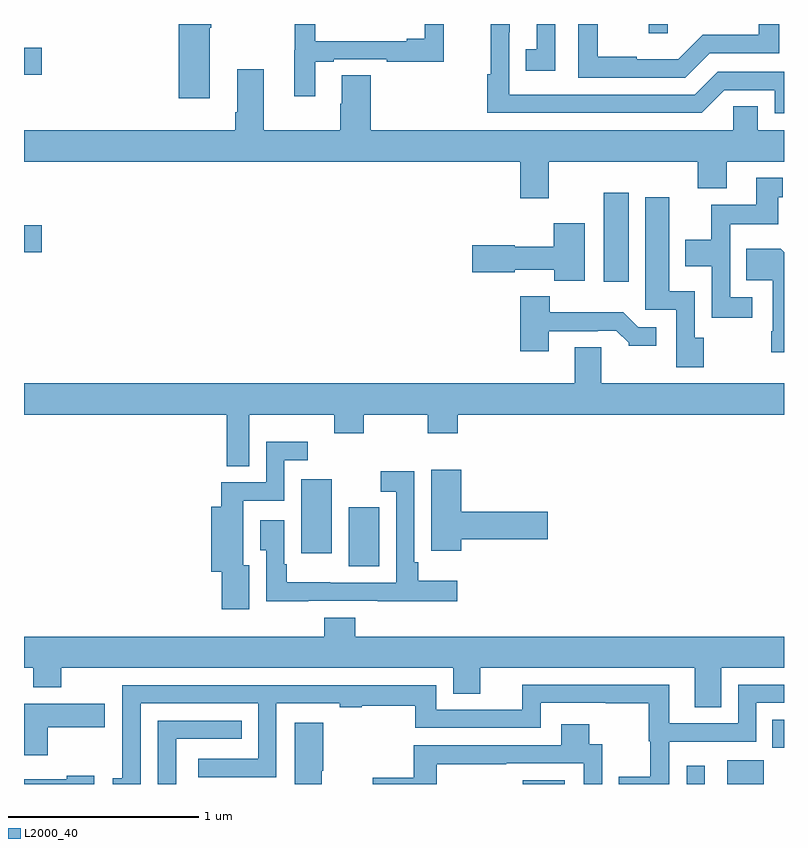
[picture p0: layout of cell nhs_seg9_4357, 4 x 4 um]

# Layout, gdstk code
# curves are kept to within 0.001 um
import gdstk
lib = gdstk.Library(unit=1e-6, precision=1e-09)
def R(c, l, rs):  # rectangles x0, y0, x1, y1
    for r in rs: c.add(gdstk.rectangle(r[:2], r[2:], *l))
def P(c, l, *ps):  # polygons
    for p in ps: c.add(gdstk.Polygon(p, *l))
L2000_40 = (2000, 40)

nhs_seg9_4357 = lib.new_cell('nhs_seg9_4357')
R(nhs_seg9_4357, L2000_40, [(363.624,1170.5,363.847,1170.52), (364.488,1170.5,364.584,1170.595), (364.7,1170.5,364.894,1170.624), (364.939,1170.692,365,1170.838), (362.708,1171.645,362.869,1171.956), (362.459,1171.715,362.62,1172.104), (364.052,1173.144,364.183,1173.613), (361,1173.299,361.093,1173.441), (361,1174.234,361.093,1174.376), (364.288,1174.452,364.389,1174.5), (362.699,1174.499,362.941,1174.5)])
P(nhs_seg9_4357, L2000_40, [(365,1174.248),(364.65,1174.248),(364.53,1174.128),(363.555,1174.128),(363.556,1174.5),(363.457,1174.5),(363.457,1174.235),(363.439,1174.235),(363.439,1174.032),(364.566,1174.032),(364.686,1174.152),(364.95,1174.152),(364.95,1174.029),(365,1174.029)],
  [(364.608,1174.347),(364.975,1174.347),(364.975,1174.5),(364.868,1174.5),(364.868,1174.443),(364.572,1174.443),(364.444,1174.315),(364.226,1174.315),(364.226,1174.327),(364.019,1174.327),(364.019,1174.5),(363.918,1174.5),(363.918,1174.218),(364.479,1174.218)],
  [(363.795,1174.5),(363.698,1174.5),(363.698,1174.367),(363.64,1174.367),(363.64,1174.254),(363.795,1174.254)],
  [(361.978,1174.481),(361.986,1174.481),(361.986,1174.5),(361.814,1174.5),(361.814,1174.11),(361.978,1174.11)],
  [(362.533,1174.302),(362.629,1174.302),(362.629,1174.314),(362.908,1174.314),(362.908,1174.302),(363.21,1174.302),(363.21,1174.5),(363.11,1174.5),(363.11,1174.423),(363.014,1174.423),(363.014,1174.41),(362.533,1174.41),(362.533,1174.5),(362.424,1174.5),(362.424,1174.363),(362.423,1174.363),(362.423,1174.119),(362.533,1174.119)],
  [(363.763,1173.776),(364.547,1173.776),(364.547,1173.635),(364.699,1173.635),(364.699,1173.776),(365,1173.776),(365,1173.94),(364.861,1173.94),(364.861,1174.067),(364.734,1174.067),(364.734,1173.94),(362.825,1173.94),(362.825,1174.229),(362.672,1174.229),(362.672,1174.079),(362.665,1174.079),(362.665,1173.94),(362.263,1173.94),(362.263,1174.261),(362.123,1174.261),(362.123,1174.036),(362.111,1174.036),(362.111,1173.94),(361,1173.94),(361,1173.776),(363.611,1173.776),(363.611,1173.582),(363.763,1173.582)],
  [(364.834,1173.063),(364.716,1173.063),(364.716,1173.446),(364.969,1173.446),(364.969,1173.588),(364.993,1173.588),(364.993,1173.691),(364.853,1173.691),(364.853,1173.55),(364.618,1173.55),(364.618,1173.364),(364.481,1173.364),(364.481,1173.224),(364.62,1173.224),(364.62,1172.955),(364.834,1172.955)],
  [(364.578,1172.85),(364.53,1172.85),(364.53,1173.094),(364.396,1173.094),(364.396,1173.589),(364.271,1173.589),(364.271,1172.997),(364.434,1172.997),(364.434,1172.694),(364.578,1172.694)],
  [(363.952,1173.451),(363.788,1173.451),(363.788,1173.328),(363.582,1173.328),(363.582,1173.336),(363.36,1173.336),(363.36,1173.194),(363.582,1173.194),(363.582,1173.206),(363.79,1173.206),(363.79,1173.149),(363.952,1173.149)],
  [(365,1173.3),(364.984,1173.316),(364.801,1173.316),(364.801,1173.152),(364.94,1173.152),(364.94,1172.884),(364.933,1172.884),(364.933,1172.772),(365,1172.772)],
  [(363.763,1172.883),(364.019,1172.883),(364.019,1172.886),(364.118,1172.886),(364.182,1172.822),(364.182,1172.807),(364.327,1172.807),(364.327,1172.904),(364.233,1172.904),(364.155,1172.983),(363.766,1172.983),(363.766,1173.067),(363.611,1173.067),(363.611,1172.778),(363.763,1172.778)],
  [(362.185,1172.444),(362.632,1172.444),(362.632,1172.345),(362.787,1172.345),(362.787,1172.444),(363.124,1172.444),(363.124,1172.345),(363.284,1172.345),(363.284,1172.444),(365,1172.444),(365,1172.608),(364.039,1172.608),(364.039,1172.798),(363.899,1172.798),(363.899,1172.608),(361,1172.608),(361,1172.444),(362.067,1172.444),(362.067,1172.173),(362.185,1172.173)],
  [(362.185,1171.651),(362.155,1171.651),(362.155,1171.992),(362.37,1171.992),(362.37,1172.205),(362.494,1172.205),(362.494,1172.302),(362.274,1172.302),(362.274,1172.088),(362.037,1172.088),(362.037,1171.96),(361.985,1171.96),(361.985,1171.616),(362.042,1171.616),(362.042,1171.419),(362.185,1171.419)],
  [(363.302,1171.787),(363.757,1171.787),(363.757,1171.934),(363.302,1171.934),(363.302,1172.155),(363.143,1172.155),(363.143,1171.728),(363.302,1171.728)],
  [(362.495,1171.464),(362.861,1171.464),(362.861,1171.463),(363.28,1171.463),(363.28,1171.57),(363.074,1171.57),(363.074,1171.666),(363.054,1171.666),(363.054,1172.146),(362.877,1172.146),(362.877,1172.037),(362.958,1172.037),(362.958,1171.56),(362.612,1171.56),(362.612,1171.561),(362.383,1171.561),(362.383,1171.657),(362.37,1171.657),(362.37,1171.888),(362.243,1171.888),(362.243,1171.729),(362.274,1171.729),(362.274,1171.463),(362.495,1171.463)],
  [(364.669,1171.112),(365,1171.112),(365,1171.276),(362.744,1171.276),(362.744,1171.375),(362.579,1171.375),(362.579,1171.276),(361,1171.276),(361,1171.112),(361.049,1171.112),(361.049,1171.01),(361.197,1171.01),(361.197,1171.112),(363.26,1171.112),(363.26,1170.976),(363.4,1170.976),(363.4,1171.112),(364.529,1171.112),(364.529,1170.904),(364.669,1170.904)],
  [(361.614,1170.924),(362.232,1170.924),(362.232,1170.633),(361.917,1170.633),(361.917,1170.536),(362.328,1170.536),(362.328,1170.924),(362.662,1170.924),(362.662,1170.904),(362.778,1170.904),(362.778,1170.912),(363.059,1170.912),(363.059,1170.795),(363.72,1170.795),(363.72,1170.927),(364.063,1170.927),(364.063,1170.925),(364.287,1170.925),(364.287,1170.726),(364.297,1170.726),(364.297,1170.538),(364.131,1170.538),(364.131,1170.5),(364.395,1170.5),(364.395,1170.723),(364.854,1170.723),(364.854,1170.927),(365,1170.927),(365,1171.023),(364.758,1171.023),(364.758,1170.819),(364.396,1170.819),(364.396,1171.023),(363.622,1171.023),(363.622,1170.891),(363.171,1170.891),(363.171,1171.02),(361.518,1171.02),(361.518,1170.531),(361.467,1170.531),(361.467,1170.5),(361.614,1170.5)],
  [(361.125,1170.8),(361.426,1170.8),(361.426,1170.922),(361,1170.922),(361,1170.651),(361.125,1170.651)],
  [(361.8,1170.738),(362.147,1170.738),(362.147,1170.834),(361.704,1170.834),(361.704,1170.5),(361.8,1170.5)],
  [(362.566,1170.57),(362.574,1170.57),(362.574,1170.823),(362.426,1170.823),(362.426,1170.5),(362.566,1170.5)],
  [(363.172,1170.604),(363.539,1170.604),(363.539,1170.609),(363.947,1170.609),(363.947,1170.5),(364.044,1170.5),(364.044,1170.708),(363.975,1170.708),(363.975,1170.814),(363.827,1170.814),(363.827,1170.705),(363.051,1170.705),(363.051,1170.532),(362.835,1170.532),(362.835,1170.5),(363.172,1170.5)],
  [(361.369,1170.544),(361.224,1170.544),(361.224,1170.525),(361,1170.525),(361,1170.5),(361.369,1170.5)])

lib.write_gds('nhs_seg9_4357.gds')
